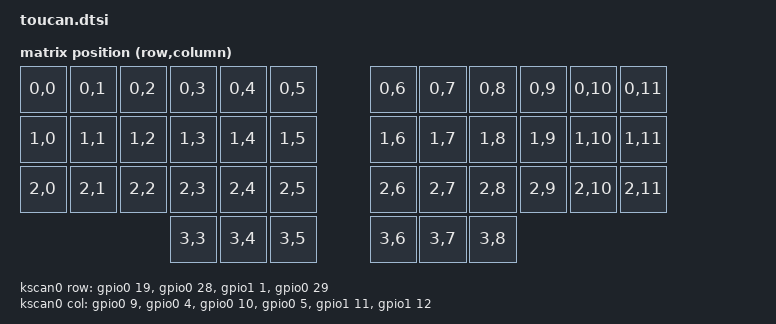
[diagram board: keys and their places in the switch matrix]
#include <input/processors.dtsi>
#include <dt-bindings/zmk/input_transform.h>
#include <dt-bindings/zmk/matrix_transform.h>
#include "toucan-layouts.dtsi"

/*
 * ─── 觸控板速度：三檔由 base 推導 ────────────────────────────────────────
 *
 * 只要調下面那組「手調」的數字，游標與滾動的三檔都會跟著同步——因為兩者
 * 共用同一組百分比，比例永遠一致。devicetree 的 cell 支援括號內算式，所以
 * 推導可以直接寫在這裡。
 *
 * 對應的 marker layer（見 config/toucan.keymap）：
 *   8  CUR SLOWEST   9  CUR SLOW    10 CUR FAST
 *   11 SCRL SLOWEST  12 SCRL SLOW   13 SCRL FAST
 */

/* ── 手調 ── */
#define PAD_BASE_MULT     250      /* 一般游標 = 250/100 = 2.50x */
#define PAD_BASE_DIV      100
#define PAD_SLOWEST_PCT    25      /* 最慢 = base 的 25%  -> 0.62x */
#define PAD_SLOW_PCT       50      /* 中檔 = base 的 50%  -> 1.25x */
#define PAD_FAST_PCT      150      /* 最快 = base 的 150% -> 3.75x */
#define PAD_SCRL_DIV        9      /* 一般滾動 zip_scroll_scaler 1 N，N 越大越慢 */

/* ── 推導，不要手改 ── */
#define PAD_SLOWEST_MULT     (PAD_BASE_MULT * PAD_SLOWEST_PCT / 100)   /*  62 */
#define PAD_SLOW_MULT        (PAD_BASE_MULT * PAD_SLOW_PCT    / 100)   /* 125 */
#define PAD_FAST_MULT        (PAD_BASE_MULT * PAD_FAST_PCT    / 100)   /* 375 */
#define PAD_SCRL_SLOWEST_DIV (PAD_SCRL_DIV * 100 / PAD_SLOWEST_PCT)    /*  36 */
#define PAD_SCRL_SLOW_DIV    (PAD_SCRL_DIV * 100 / PAD_SLOW_PCT)       /*  18 */
#define PAD_SCRL_FAST_DIV    (PAD_SCRL_DIV * 100 / PAD_FAST_PCT)       /*   6 */

&physical_layout0 {
    transform = <&default_transform>;
};

/ {
    chosen {
        zmk,kscan = &kscan0;
        zmk,physical-layout = &physical_layout0;
    };

    kscan0: kscan_0 {
        compatible = "zmk,kscan-gpio-matrix";
        diode-direction = "col2row";
        wakeup-source;

    col-gpios
    = <&gpio0 9 GPIO_ACTIVE_HIGH>
    , <&gpio0 4 GPIO_ACTIVE_HIGH>
    , <&gpio0 10 GPIO_ACTIVE_HIGH>
    , <&gpio0 5 GPIO_ACTIVE_HIGH>
    , <&gpio1 11 GPIO_ACTIVE_HIGH>
    , <&gpio1 12 GPIO_ACTIVE_HIGH>
    ;
    row-gpios
    = <&gpio0 19 (GPIO_ACTIVE_HIGH | GPIO_PULL_DOWN)>
    , <&gpio0 28 (GPIO_ACTIVE_HIGH | GPIO_PULL_DOWN)>
    , <&gpio1 1 (GPIO_ACTIVE_HIGH | GPIO_PULL_DOWN)>
    , <&gpio0 29 (GPIO_ACTIVE_HIGH | GPIO_PULL_DOWN)>
    ;
    };

    default_transform: keymap_transform_0 {
        compatible = "zmk,matrix-transform";
        columns = <12>;
        rows = <4>;
        // | SW1  | SW2  | SW3  | SW4  | SW5  | SW6  |   | SW6  | SW5  | SW4  | SW3  | SW2  | SW1  |
        // | SW7  | SW8  | SW9  | SW10 | SW11 | SW12 |   | SW12 | SW11 | SW10 | SW9  | SW8  | SW7  |
        // | SW13 | SW14 | SW15 | SW16 | SW17 | SW18 |   | SW18 | SW17 | SW16 | SW15 | SW14 | SW13 |
        //                      | SW19 | SW20 | SW21 |   | SW21 | SW20 | SW19 |
                map = <
        RC(0,0) RC(0,1) RC(0,2) RC(0,3) RC(0,4) RC(0,5)  RC(0,6) RC(0,7) RC(0,8) RC(0,9) RC(0,10) RC(0,11)
        RC(1,0) RC(1,1) RC(1,2) RC(1,3) RC(1,4) RC(1,5)  RC(1,6) RC(1,7) RC(1,8) RC(1,9) RC(1,10) RC(1,11)
        RC(2,0) RC(2,1) RC(2,2) RC(2,3) RC(2,4) RC(2,5)  RC(2,6) RC(2,7) RC(2,8) RC(2,9) RC(2,10) RC(2,11)
                                RC(3,3) RC(3,4) RC(3,5)  RC(3,6) RC(3,7) RC(3,8)
        >;
    };
};

/ {
    split_inputs {
        #address-cells = <1>;
        #size-cells = <0>;

        glidepoint_split: glidepoint_split@0 {
            compatible = "zmk,input-split";
            reg = <0>;
        };
    };

    /*
     * 自動升起 MOUSE 層（6）的處理器。
     *
     * timeout 150 ms = 「最後一次觸控板移動之後，layer 6 還留多久」。手指停
     * 在板上不會產生移動事件，所以這個值不能再縮——縮了會直接壞掉「先定位、
     * 停手、再按鍵」，包含 layer 6 位置 26/27/28 的 &mkp LCLK/RCLK/MCLK。
     *
     * excluded-positions = 按了「不會」把 temp layer 關掉的位置。六顆拇指
     * (36-41) 全部在名單內，因為它們在 layer 6/7 上都是調速鍵，被關掉就按不到。
     * 位置 40 是本次新加的（右手中檔）——代價是用完觸控板 150 ms 內按 Enter
     * 會被吞掉一次，變成「按住中檔」。因為是 &mo 而不是 &tog，不會 latch。
     *
     * 動 layer 6/7 的 bindings 時必須同步檢查這份名單。
     */
    /omit-if-no-ref/ mouse_temp_layer: mouse_temp_layer {
        compatible = "zmk,input-processor-temp-layer";
        #input-processor-cells = <2>;
        require-prior-idle-ms = <150>;
        excluded-positions = <1 2 3 4 5 6 7 8 9 10 13 14 15 16 17 18 19 20 21 25 26 27 28 29 30 31 32 33 36 37 38 39 40 41>;
    };

    /*
     * 觸控板處理鏈。
     *
     * 子節點是「第一個命中的取代整條 base 鏈」——不是疊加。所以：
     *   1. 宣告順序 = 優先權。滾動的三檔排在 scroller_default 之前，
     *      cursor_* 排在它之後（否則按住 ESC 進 NAV 時會被搶走）。
     *   2. 每一條鏈都必須帶 &zip_button_behaviors，漏掉的那幾層會重新
     *      開放 tap-and-drag（見 config/toucan.keymap 檔頭的說明）。
     *   3. 三條 cursor_* 都必須帶 &mouse_temp_layer，否則鎖定某一檔之後
     *      layer 6 就不再自動升起。
     *
     * 同時鎖住兩檔時由較慢的勝出（8 -> 9 -> 10），刻意的安全側；按 P 清掉。
     */
    glidepoint_listener: glidepoint_listener {
        compatible = "zmk,input-listener";
        status = "disabled";
        device = <&glidepoint_split>;

        input-processors = <&zip_xy_scaler PAD_BASE_MULT PAD_BASE_DIV &mouse_temp_layer 6 150 &zip_button_behaviors>;

        scroll_slowest {
            layers = <11>;
            input-processors = <
                &zip_xy_to_scroll_mapper
                &zip_scroll_scaler 1 PAD_SCRL_SLOWEST_DIV
                &zip_scroll_transform INPUT_TRANSFORM_X_INVERT
                &zip_scroll_transform INPUT_TRANSFORM_Y_INVERT
                &zip_button_behaviors
            >;
        };

        scroll_slow {
            layers = <12>;
            input-processors = <
                &zip_xy_to_scroll_mapper
                &zip_scroll_scaler 1 PAD_SCRL_SLOW_DIV
                &zip_scroll_transform INPUT_TRANSFORM_X_INVERT
                &zip_scroll_transform INPUT_TRANSFORM_Y_INVERT
                &zip_button_behaviors
            >;
        };

        scroll_fast {
            layers = <13>;
            input-processors = <
                &zip_xy_to_scroll_mapper
                &zip_scroll_scaler 1 PAD_SCRL_FAST_DIV
                &zip_scroll_transform INPUT_TRANSFORM_X_INVERT
                &zip_scroll_transform INPUT_TRANSFORM_Y_INVERT
                &zip_button_behaviors
            >;
        };

        // 一般滾動。7 = SCROLL（BASE 按住 G / H 進入）、1 = NAV、2 = NUM。
        scroller_default {
            layers = <1 2 7>;
            input-processors = <
                &zip_xy_to_scroll_mapper
                &zip_scroll_scaler 1 PAD_SCRL_DIV
                &zip_scroll_transform INPUT_TRANSFORM_X_INVERT
                &zip_scroll_transform INPUT_TRANSFORM_Y_INVERT
                &zip_button_behaviors
            >;
        };

        cursor_slowest {
            layers = <8>;
            input-processors = <&zip_xy_scaler PAD_SLOWEST_MULT PAD_BASE_DIV &mouse_temp_layer 6 150 &zip_button_behaviors>;
        };

        cursor_slow {
            layers = <9>;
            input-processors = <&zip_xy_scaler PAD_SLOW_MULT PAD_BASE_DIV &mouse_temp_layer 6 150 &zip_button_behaviors>;
        };

        cursor_fast {
            layers = <10>;
            input-processors = <&zip_xy_scaler PAD_FAST_MULT PAD_BASE_DIV &mouse_temp_layer 6 150 &zip_button_behaviors>;
        };
    };
};
